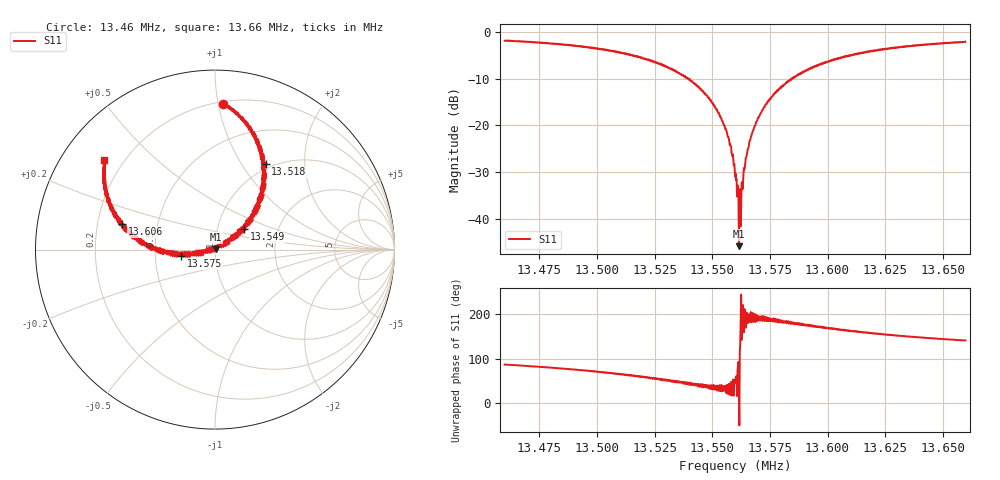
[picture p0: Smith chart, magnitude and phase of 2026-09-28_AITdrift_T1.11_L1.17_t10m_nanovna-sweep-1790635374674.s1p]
! NanoVNA Web complex sweep
! Processing: unaveraged complex samples; linear segment spacing; no smoothing
# Hz S RI R 50
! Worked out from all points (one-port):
!   1010 points, 13.46 MHz to 13.66 MHz, reference 50 ohm
!   lowest |S11| = -45.9 dB at 13.562 MHz (marker M1), VSWR 1.01, Z = 50.5 + j0.226 ohm
!   |S11| at or under -10 dB: 13.53951 MHz to 13.53963 MHz (116.6 Hz wide, 0.000861 % of centre); 13.53984 MHz to 13.58436 MHz (44.52 kHz wide, 0.328 % of centre)
!   S11 on the Smith chart (normalised r, x): 13.46 MHz: 0.22, +1.03; 13.518 MHz: 0.93, +1.28; 13.549 MHz: 1.34, +0.32; 13.575 MHz: 0.68, -0.05; 13.606 MHz: 0.31, +0.12; 13.66 MHz: 0.13, +0.35
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1.346e7  0.0446 0.8107
1.348515e7  0.1558 0.7206
1.351009e7  0.2522 0.548
1.351782e7  0.2817 0.4765
1.353504e7  0.2438 0.2767
1.354356e7  0.2056 0.1699
1.354851e7  0.1616 0.1144
1.355306e7  0.1013 0.0825
1.355623e7  0.0806 0.0326
1.355801e7  0.0429 0.0422
1.355999e7  0.0194 0.02
1.356039e7  0.0138 0.0218
1.356078e7  0.0166 0.00476
1.356157e7  0.00453 0.00224
1.356256e7  -0.00573 -0.0119
1.356276e7  -0.0194 0.015
1.356336e7  -0.0183 -0.0157
1.356375e7  -0.0326 0.0123
1.356454e7  -0.0436 0.00801
1.356712e7  -0.0797 -0.0119
1.357068e7  -0.1262 -0.0332
1.357484e7  -0.189 -0.0365
1.358494e7  -0.3187 0.0084
1.359345e7  -0.4189 0.0455
1.360612e7  -0.5154 0.1427
1.360989e7  -0.5473 0.1647
1.363483e7  -0.6068 0.3543
1.365978e7  -0.6177 0.4975
